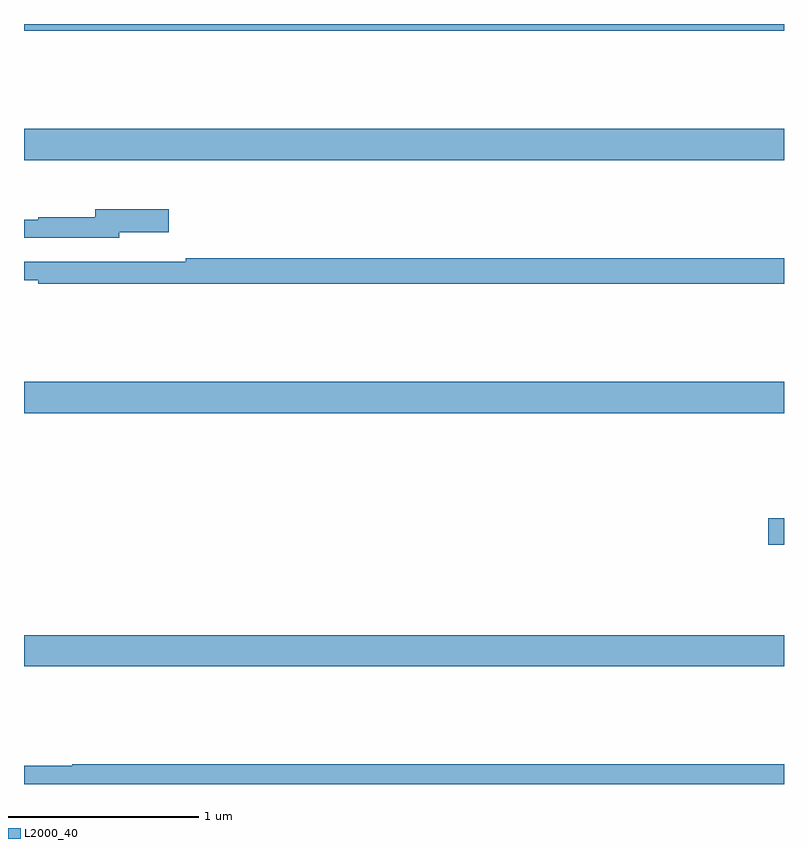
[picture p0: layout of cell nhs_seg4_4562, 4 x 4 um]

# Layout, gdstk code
import gdstk
lib = gdstk.Library(unit=1e-6, precision=1e-09)
def R(c, l, rs):  # rectangles x0, y0, x1, y1
    for r in rs: c.add(gdstk.rectangle(r[:2], r[2:], *l))
def A(c, l, x, y, w, h, nx, ny, dx, dy):  # array of equal rectangles
    R(c, l, [(x+i*dx, y+j*dy, x+i*dx+w, y+j*dy+h) for i in range(nx) for j in range(ny)])
def P(c, l, *ps):  # polygons
    for p in ps: c.add(gdstk.Polygon(p, *l))
L2000_40 = (2000, 40)

nhs_seg4_4562 = lib.new_cell('nhs_seg4_4562')
A(nhs_seg4_4562, L2000_40, 357, 763.52, 4, 0.164, 1, 3, 0, 1.332)
R(nhs_seg4_4562, L2000_40, [(360.918,764.158,361,764.3), (357,766.864,361,766.9)])
P(nhs_seg4_4562, L2000_40, [(357.502,765.803),(357.763,765.803),(357.763,765.925),(357.374,765.925),(357.374,765.883),(357.076,765.883),(357.076,765.87),(357,765.87),(357,765.774),(357.502,765.774)],
  [(361,765.668),(357.85,765.668),(357.85,765.649),(357.598,765.649),(357.598,765.648),(357,765.648),(357,765.551),(357.076,765.551),(357.076,765.532),(361,765.532)],
  [(361,763.004),(357.255,763.004),(357.255,762.997),(357,762.997),(357,762.9),(361,762.9)])

lib.write_gds('nhs_seg4_4562.gds')
